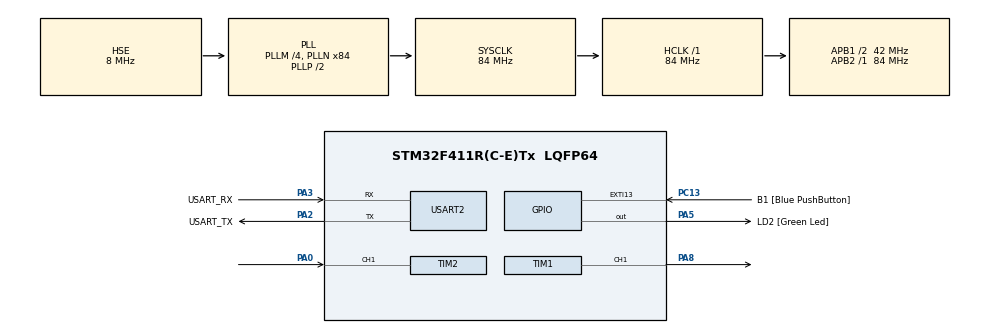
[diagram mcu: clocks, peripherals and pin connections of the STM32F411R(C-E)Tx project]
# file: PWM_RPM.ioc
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Dma.Request0=TIM2_CH1
Dma.TIM2_CH1.0.Direction=DMA_PERIPH_TO_MEMORY
Dma.TIM2_CH1.0.FIFOMode=DMA_FIFOMODE_DISABLE
Dma.TIM2_CH1.0.Instance=DMA1_Stream5
Dma.TIM2_CH1.0.MemDataAlignment=DMA_MDATAALIGN_WORD
Dma.TIM2_CH1.0.MemInc=DMA_MINC_ENABLE
Dma.TIM2_CH1.0.Mode=DMA_CIRCULAR
Dma.TIM2_CH1.0.PeriphDataAlignment=DMA_PDATAALIGN_WORD
Dma.TIM2_CH1.0.PeriphInc=DMA_PINC_DISABLE
Dma.TIM2_CH1.0.Priority=DMA_PRIORITY_LOW
Mcu.Family=STM32F4
Mcu.Name=STM32F411R(C-E)Tx
Mcu.Package=LQFP64
NVIC.DMA1_Stream5_IRQn=true\:0\:0\:false\:false\:true\:false\:true\:true
NVIC.PriorityGroup=NVIC_PRIORITYGROUP_0
PA0-WKUP.Signal=S_TIM2_CH1_ETR
PA13.GPIO_Label=TMS
PA13.Mode=Serial_Wire
PA13.Signal=SYS_JTMS-SWDIO
PA14.GPIO_Label=TCK
PA14.Mode=Serial_Wire
PA14.Signal=SYS_JTCK-SWCLK
PA2.GPIO_Label=USART_TX
PA2.Mode=Asynchronous
PA2.Signal=USART2_TX
PA3.GPIO_Label=USART_RX
PA3.Mode=Asynchronous
PA3.Signal=USART2_RX
PA5.GPIO_Label=LD2 [Green Led]
PA5.Signal=GPIO_Output
PA8.Signal=S_TIM1_CH1
PB3.GPIO_Label=SWO
PB3.Signal=SYS_JTDO-SWO
PC13-ANTI_TAMP.GPIO_Label=B1 [Blue PushButton]
PC13-ANTI_TAMP.GPIO_ModeDefaultEXTI=GPIO_MODE_IT_FALLING
PC13-ANTI_TAMP.Signal=GPXTI13
PC14-OSC32_IN.Mode=LSE-External-Oscillator
PC14-OSC32_IN.Signal=RCC_OSC32_IN
PC15-OSC32_OUT.Mode=LSE-External-Oscillator
PC15-OSC32_OUT.Signal=RCC_OSC32_OUT
PH0\ -\ OSC_IN.Mode=HSE-External-Clock-Source
PH0\ -\ OSC_IN.Signal=RCC_OSC_IN
PH1\ -\ OSC_OUT.Mode=HSE-External-Clock-Source
PH1\ -\ OSC_OUT.Signal=RCC_OSC_OUT
ProjectManager.HeapSize=0x200
ProjectManager.StackSize=0x400
ProjectManager.TargetToolchain=STM32CubeIDE
RCC.48MHZClocksFreq_Value=42000000
RCC.AHBFreq_Value=84000000
RCC.APB1CLKDivider=RCC_HCLK_DIV2
RCC.APB1Freq_Value=42000000
RCC.APB1TimFreq_Value=84000000
RCC.APB2Freq_Value=84000000
RCC.APB2TimFreq_Value=84000000
RCC.CortexFreq_Value=84000000
RCC.FLatency-AdvancedSettings=FLASH_LATENCY_2
RCC.HCLKFreq_Value=84000000
RCC.HSE_VALUE=8000000
RCC.HSI_VALUE=16000000
RCC.PLLM=4
RCC.PLLN=84
RCC.PLLSourceVirtual=RCC_PLLSOURCE_HSE
RCC.SYSCLKFreq_VALUE=84000000
RCC.SYSCLKSource=RCC_SYSCLKSOURCE_PLLCLK
RCC.VCOOutputFreq_Value=168000000
SH.S_TIM1_CH1.0=TIM1_CH1,PWM Generation1 CH1
SH.S_TIM2_CH1_ETR.0=TIM2_CH1,Input_Capture1_from_TI1
TIM1.Channel-PWM\ Generation1\ CH1=TIM_CHANNEL_1
TIM1.Period=999
TIM1.Prescaler=83
TIM1.Pulse-PWM\ Generation1\ CH1=0
TIM2.Channel-Input_Capture1_from_TI1=TIM_CHANNEL_1
TIM2.Prescaler=83
USART2.VirtualMode=VM_ASYNC
VP_TIM1_VS_ClockSourceINT.Mode=Internal
VP_TIM2_VS_ClockSourceINT.Mode=Internal
board=NUCLEO-F411RE

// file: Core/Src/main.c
/* USER CODE BEGIN Header */
/**
  ******************************************************************************
  * @file           : main.c
  * @brief          : Main program body
  ******************************************************************************
  * @attention
  *
  * Copyright (c) 2023 STMicroelectronics.
  * All rights reserved.
  *
  * This software is licensed under terms that can be found in the LICENSE file
  * in the root directory of this software component.
  * If no LICENSE file comes with this software, it is provided AS-IS.
  *
  ******************************************************************************
  */
/* USER CODE END Header */
#include "main.h"

/* USER CODE BEGIN Includes */
#define IC_BUFFER_SIZE 20
/* USER CODE END Includes */

TIM_HandleTypeDef htim1;
TIM_HandleTypeDef htim2;
DMA_HandleTypeDef hdma_tim2_ch1;

UART_HandleTypeDef huart2;

/* USER CODE BEGIN PV */
uint32_t MotorSetDuty = 0;
float averageRisingEdgePeriod;
uint32_t InputCaptureBuffer[IC_BUFFER_SIZE];
float MotorReadRPM;
uint8_t MotorControlEnable = 0;
uint32_t MotorSetRPM = 0;
uint32_t DutyToRPM = 0;
float duty;
uint8_t check_control_en = 0;
/* USER CODE END PV */

void SystemClock_Config(void);
static void MX_GPIO_Init(void);
static void MX_DMA_Init(void);
static void MX_USART2_UART_Init(void);
static void MX_TIM1_Init(void);
static void MX_TIM2_Init(void);
/* USER CODE BEGIN PFP */
float IC_Calc_Period();
/* USER CODE END PFP */

int main(void)
{

  /* MCU Configuration--------------------------------------------------------*/

  /* Reset of all peripherals, Initializes the Flash interface and the Systick. */
  HAL_Init();

  /* Configure the system clock */
  SystemClock_Config();

  /* Initialize all configured peripherals */
  MX_GPIO_Init();
  MX_DMA_Init();
  MX_USART2_UART_Init();
  MX_TIM1_Init();
  MX_TIM2_Init();
  /* USER CODE BEGIN 2 */
HAL_TIM_Base_Start(&htim1);
HAL_TIM_PWM_Start(&htim1, TIM_CHANNEL_1);

HAL_TIM_Base_Start(&htim2);
HAL_TIM_IC_Start_DMA(&htim2, TIM_CHANNEL_1, InputCaptureBuffer, IC_BUFFER_SIZE);
  /* USER CODE END 2 */

  /* Infinite loop */
  while (1)
  {

    /* USER CODE BEGIN 3 */
	  static uint32_t timestamp = 0;
	  if (HAL_GetTick() - timestamp >= 500)
	  {
		  timestamp = HAL_GetTick();
		  averageRisingEdgePeriod = IC_Calc_Period();

		  if (averageRisingEdgePeriod == 0) 	MotorReadRPM = 0;
		  else  	MotorReadRPM = (5000000/averageRisingEdgePeriod)/64.0;

		  switch (MotorControlEnable) {
		  	case 0:
		  		check_control_en = 0;
				__HAL_TIM_SET_COMPARE(&htim1,TIM_CHANNEL_1,MotorSetDuty*10);
				break;
			case 1:
				if (check_control_en == 0) {
					duty = MotorSetDuty;
					check_control_en = 1;
				}
				if (MotorSetRPM == 0)	duty = 0;

				else if (MotorReadRPM < MotorSetRPM && duty < 100) {
					if (MotorReadRPM - MotorSetRPM >= -1 && MotorReadRPM - MotorSetRPM <= -0.1) 	duty += 0.1;
					else if(MotorReadRPM - MotorSetRPM < -1)	duty += 1;
				}

				else if (MotorReadRPM > MotorSetRPM && duty > 0) {
					if (MotorReadRPM - MotorSetRPM <= 1 && MotorReadRPM - MotorSetRPM >= 0.1) 	duty -= 0.1;
					else if (MotorReadRPM - MotorSetRPM >= 1) 	duty -= 1;
				}

				__HAL_TIM_SET_COMPARE(&htim1,TIM_CHANNEL_1,duty*10);
				break;
		}
	  }
  }
  /* USER CODE END 3 */
}

void SystemClock_Config(void)
{
  RCC_OscInitTypeDef RCC_OscInitStruct = {0};
  RCC_ClkInitTypeDef RCC_ClkInitStruct = {0};

  /** Configure the main internal regulator output voltage
  */
  __HAL_RCC_PWR_CLK_ENABLE();
  __HAL_PWR_VOLTAGESCALING_CONFIG(PWR_REGULATOR_VOLTAGE_SCALE1);

  /** Initializes the RCC Oscillators according to the specified parameters
  * in the RCC_OscInitTypeDef structure.
  */
  RCC_OscInitStruct.OscillatorType = RCC_OSCILLATORTYPE_HSE;
  RCC_OscInitStruct.HSEState = RCC_HSE_BYPASS;
  RCC_OscInitStruct.PLL.PLLState = RCC_PLL_ON;
  RCC_OscInitStruct.PLL.PLLSource = RCC_PLLSOURCE_HSE;
  RCC_OscInitStruct.PLL.PLLM = 4;
  RCC_OscInitStruct.PLL.PLLN = 84;
  RCC_OscInitStruct.PLL.PLLP = RCC_PLLP_DIV2;
  RCC_OscInitStruct.PLL.PLLQ = 4;
  if (HAL_RCC_OscConfig(&RCC_OscInitStruct) != HAL_OK)
  {
    Error_Handler();
  }

  /** Initializes the CPU, AHB and APB buses clocks
  */
  RCC_ClkInitStruct.ClockType = RCC_CLOCKTYPE_HCLK|RCC_CLOCKTYPE_SYSCLK
                              |RCC_CLOCKTYPE_PCLK1|RCC_CLOCKTYPE_PCLK2;
  RCC_ClkInitStruct.SYSCLKSource = RCC_SYSCLKSOURCE_PLLCLK;
  RCC_ClkInitStruct.AHBCLKDivider = RCC_SYSCLK_DIV1;
  RCC_ClkInitStruct.APB1CLKDivider = RCC_HCLK_DIV2;
  RCC_ClkInitStruct.APB2CLKDivider = RCC_HCLK_DIV1;

  if (HAL_RCC_ClockConfig(&RCC_ClkInitStruct, FLASH_LATENCY_2) != HAL_OK)
  {
    Error_Handler();
  }
}

static void MX_TIM1_Init(void)
{

  TIM_ClockConfigTypeDef sClockSourceConfig = {0};
  TIM_MasterConfigTypeDef sMasterConfig = {0};
  TIM_OC_InitTypeDef sConfigOC = {0};
  TIM_BreakDeadTimeConfigTypeDef sBreakDeadTimeConfig = {0};

  htim1.Instance = TIM1;
  htim1.Init.Prescaler = 83;
  htim1.Init.CounterMode = TIM_COUNTERMODE_UP;
  htim1.Init.Period = 999;
  htim1.Init.ClockDivision = TIM_CLOCKDIVISION_DIV1;
  htim1.Init.RepetitionCounter = 0;
  htim1.Init.AutoReloadPreload = TIM_AUTORELOAD_PRELOAD_DISABLE;
  if (HAL_TIM_Base_Init(&htim1) != HAL_OK)
  {
    Error_Handler();
  }
  sClockSourceConfig.ClockSource = TIM_CLOCKSOURCE_INTERNAL;
  if (HAL_TIM_ConfigClockSource(&htim1, &sClockSourceConfig) != HAL_OK)
  {
    Error_Handler();
  }
  if (HAL_TIM_PWM_Init(&htim1) != HAL_OK)
  {
    Error_Handler();
  }
  sMasterConfig.MasterOutputTrigger = TIM_TRGO_RESET;
  sMasterConfig.MasterSlaveMode = TIM_MASTERSLAVEMODE_DISABLE;
  if (HAL_TIMEx_MasterConfigSynchronization(&htim1, &sMasterConfig) != HAL_OK)
  {
    Error_Handler();
  }
  sConfigOC.OCMode = TIM_OCMODE_PWM1;
  sConfigOC.Pulse = 0;
  sConfigOC.OCPolarity = TIM_OCPOLARITY_HIGH;
  sConfigOC.OCNPolarity = TIM_OCNPOLARITY_HIGH;
  sConfigOC.OCFastMode = TIM_OCFAST_DISABLE;
  sConfigOC.OCIdleState = TIM_OCIDLESTATE_RESET;
  sConfigOC.OCNIdleState = TIM_OCNIDLESTATE_RESET;
  if (HAL_TIM_PWM_ConfigChannel(&htim1, &sConfigOC, TIM_CHANNEL_1) != HAL_OK)
  {
    Error_Handler();
  }
  sBreakDeadTimeConfig.OffStateRunMode = TIM_OSSR_DISABLE;
  sBreakDeadTimeConfig.OffStateIDLEMode = TIM_OSSI_DISABLE;
  sBreakDeadTimeConfig.LockLevel = TIM_LOCKLEVEL_OFF;
  sBreakDeadTimeConfig.DeadTime = 0;
  sBreakDeadTimeConfig.BreakState = TIM_BREAK_DISABLE;
  sBreakDeadTimeConfig.BreakPolarity = TIM_BREAKPOLARITY_HIGH;
  sBreakDeadTimeConfig.AutomaticOutput = TIM_AUTOMATICOUTPUT_DISABLE;
  if (HAL_TIMEx_ConfigBreakDeadTime(&htim1, &sBreakDeadTimeConfig) != HAL_OK)
  {
    Error_Handler();
  }
  HAL_TIM_MspPostInit(&htim1);

}

static void MX_TIM2_Init(void)
{

  TIM_ClockConfigTypeDef sClockSourceConfig = {0};
  TIM_MasterConfigTypeDef sMasterConfig = {0};
  TIM_IC_InitTypeDef sConfigIC = {0};

  htim2.Instance = TIM2;
  htim2.Init.Prescaler = 83;
  htim2.Init.CounterMode = TIM_COUNTERMODE_UP;
  htim2.Init.Period = 4294967295;
  htim2.Init.ClockDivision = TIM_CLOCKDIVISION_DIV1;
  htim2.Init.AutoReloadPreload = TIM_AUTORELOAD_PRELOAD_DISABLE;
  if (HAL_TIM_Base_Init(&htim2) != HAL_OK)
  {
    Error_Handler();
  }
  sClockSourceConfig.ClockSource = TIM_CLOCKSOURCE_INTERNAL;
  if (HAL_TIM_ConfigClockSource(&htim2, &sClockSourceConfig) != HAL_OK)
  {
    Error_Handler();
  }
  if (HAL_TIM_IC_Init(&htim2) != HAL_OK)
  {
    Error_Handler();
  }
  sMasterConfig.MasterOutputTrigger = TIM_TRGO_RESET;
  sMasterConfig.MasterSlaveMode = TIM_MASTERSLAVEMODE_DISABLE;
  if (HAL_TIMEx_MasterConfigSynchronization(&htim2, &sMasterConfig) != HAL_OK)
  {
    Error_Handler();
  }
  sConfigIC.ICPolarity = TIM_INPUTCHANNELPOLARITY_RISING;
  sConfigIC.ICSelection = TIM_ICSELECTION_DIRECTTI;
  sConfigIC.ICPrescaler = TIM_ICPSC_DIV1;
  sConfigIC.ICFilter = 0;
  if (HAL_TIM_IC_ConfigChannel(&htim2, &sConfigIC, TIM_CHANNEL_1) != HAL_OK)
  {
    Error_Handler();
  }

}

static void MX_USART2_UART_Init(void)
{

  huart2.Instance = USART2;
  huart2.Init.BaudRate = 115200;
  huart2.Init.WordLength = UART_WORDLENGTH_8B;
  huart2.Init.StopBits = UART_STOPBITS_1;
  huart2.Init.Parity = UART_PARITY_NONE;
  huart2.Init.Mode = UART_MODE_TX_RX;
  huart2.Init.HwFlowCtl = UART_HWCONTROL_NONE;
  huart2.Init.OverSampling = UART_OVERSAMPLING_16;
  if (HAL_UART_Init(&huart2) != HAL_OK)
  {
    Error_Handler();
  }

}

static void MX_DMA_Init(void)
{

  /* DMA controller clock enable */
  __HAL_RCC_DMA1_CLK_ENABLE();

  /* DMA interrupt init */
  /* DMA1_Stream5_IRQn interrupt configuration */
  HAL_NVIC_SetPriority(DMA1_Stream5_IRQn, 0, 0);
  HAL_NVIC_EnableIRQ(DMA1_Stream5_IRQn);

}

static void MX_GPIO_Init(void)
{
  GPIO_InitTypeDef GPIO_InitStruct = {0};

  /* GPIO Ports Clock Enable */
  __HAL_RCC_GPIOC_CLK_ENABLE();
  __HAL_RCC_GPIOH_CLK_ENABLE();
  __HAL_RCC_GPIOA_CLK_ENABLE();
  __HAL_RCC_GPIOB_CLK_ENABLE();

  /*Configure GPIO pin Output Level */
  HAL_GPIO_WritePin(LD2_GPIO_Port, LD2_Pin, GPIO_PIN_RESET);

  /*Configure GPIO pin : B1_Pin */
  GPIO_InitStruct.Pin = B1_Pin;
  GPIO_InitStruct.Mode = GPIO_MODE_IT_FALLING;
  GPIO_InitStruct.Pull = GPIO_NOPULL;
  HAL_GPIO_Init(B1_GPIO_Port, &GPIO_InitStruct);

  /*Configure GPIO pin : LD2_Pin */
  GPIO_InitStruct.Pin = LD2_Pin;
  GPIO_InitStruct.Mode = GPIO_MODE_OUTPUT_PP;
  GPIO_InitStruct.Pull = GPIO_NOPULL;
  GPIO_InitStruct.Speed = GPIO_SPEED_FREQ_LOW;
  HAL_GPIO_Init(LD2_GPIO_Port, &GPIO_InitStruct);

}

/* USER CODE BEGIN 4 */
float IC_Calc_Period()
{
    uint32_t currentDMAPointer = IC_BUFFER_SIZE - __HAL_DMA_GET_COUNTER((htim2.hdma[1]));

    uint32_t lastValidDMAPointer = (currentDMAPointer-1 + IC_BUFFER_SIZE)%IC_BUFFER_SIZE;

    uint32_t i = (lastValidDMAPointer - 5 + IC_BUFFER_SIZE)%IC_BUFFER_SIZE;

    int32_t sumdiff = 0;
    while(i!=lastValidDMAPointer)
    {
        uint32_t firstCapture  = InputCaptureBuffer[i];

        uint32_t NextCapture = InputCaptureBuffer[(i+1)%IC_BUFFER_SIZE];

        sumdiff += NextCapture - firstCapture;
        i = (i+1)% IC_BUFFER_SIZE;
    }
    return sumdiff / 5.0;
}
/* USER CODE END 4 */

void Error_Handler(void)
{
  __disable_irq();
  while (1)
  {
  }
}
